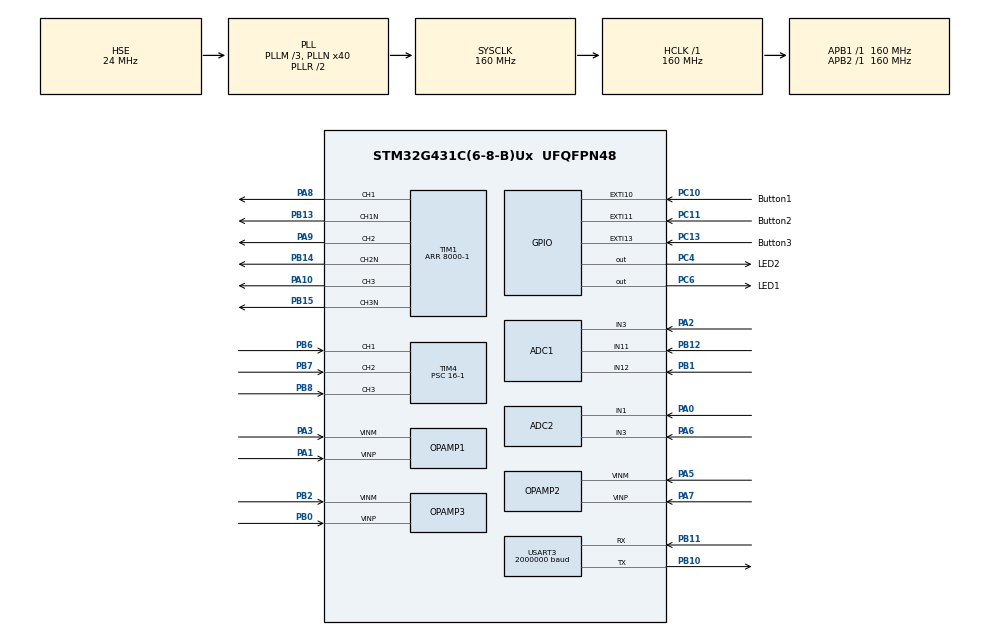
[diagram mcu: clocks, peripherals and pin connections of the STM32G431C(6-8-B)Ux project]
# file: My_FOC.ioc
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ADC1.Channel-0\#ChannelRegularConversion=ADC_CHANNEL_11
ADC1.ClockPrescaler=ADC_CLOCK_ASYNC_DIV4
ADC1.EnableInjectedConversion=ENABLE
ADC1.ExternalTrigInjecConv=ADC_EXTERNALTRIGINJEC_T1_CC4
ADC1.InjNumberOfConversion=2
ADC1.InjectedChannel-1\#ChannelInjectedConversion=ADC_CHANNEL_3
ADC1.InjectedChannel-2\#ChannelInjectedConversion=ADC_CHANNEL_12
ADC1.InjectedOffsetNumber-1\#ChannelInjectedConversion=ADC_OFFSET_NONE
ADC1.InjectedOffsetNumber-2\#ChannelInjectedConversion=ADC_OFFSET_NONE
ADC1.InjectedRank-1\#ChannelInjectedConversion=1
ADC1.InjectedRank-2\#ChannelInjectedConversion=2
ADC1.InjectedSamplingTime-1\#ChannelInjectedConversion=ADC_SAMPLETIME_6CYCLES_5
ADC1.InjectedSamplingTime-2\#ChannelInjectedConversion=ADC_SAMPLETIME_6CYCLES_5
ADC1.NbrOfConversion=1
ADC1.NbrOfConversionFlag=1
ADC1.OffsetNumber-0\#ChannelRegularConversion=ADC_OFFSET_NONE
ADC1.Rank-0\#ChannelRegularConversion=1
ADC1.SamplingTime-0\#ChannelRegularConversion=ADC_SAMPLETIME_2CYCLES_5
ADC1.master=1
ADC2.Channel-0\#ChannelRegularConversion=ADC_CHANNEL_1
ADC2.ClockPrescaler=ADC_CLOCK_ASYNC_DIV4
ADC2.EnableInjectedConversion=ENABLE
ADC2.ExternalTrigInjecConv=ADC_EXTERNALTRIGINJEC_T1_CC4
ADC2.InjNumberOfConversion=1
ADC2.InjectedChannel-1\#ChannelInjectedConversion=ADC_CHANNEL_3
ADC2.InjectedOffsetNumber-1\#ChannelInjectedConversion=ADC_OFFSET_NONE
ADC2.InjectedRank-1\#ChannelInjectedConversion=1
ADC2.InjectedSamplingTime-1\#ChannelInjectedConversion=ADC_SAMPLETIME_6CYCLES_5
ADC2.NbrOfConversionFlag=1
ADC2.OffsetNumber-0\#ChannelRegularConversion=ADC_OFFSET_NONE
ADC2.Rank-0\#ChannelRegularConversion=1
ADC2.SamplingTime-0\#ChannelRegularConversion=ADC_SAMPLETIME_2CYCLES_5
Dma.Request0=USART3_RX
Dma.Request1=USART3_TX
Dma.USART3_RX.0.Direction=DMA_PERIPH_TO_MEMORY
Dma.USART3_RX.0.EventEnable=DISABLE
Dma.USART3_RX.0.Instance=DMA1_Channel1
Dma.USART3_RX.0.MemDataAlignment=DMA_MDATAALIGN_BYTE
Dma.USART3_RX.0.MemInc=DMA_MINC_ENABLE
Dma.USART3_RX.0.Mode=DMA_NORMAL
Dma.USART3_RX.0.PeriphDataAlignment=DMA_PDATAALIGN_BYTE
Dma.USART3_RX.0.PeriphInc=DMA_PINC_DISABLE
Dma.USART3_RX.0.Polarity=HAL_DMAMUX_REQ_GEN_RISING
Dma.USART3_RX.0.Priority=DMA_PRIORITY_LOW
Dma.USART3_RX.0.RequestNumber=1
Dma.USART3_RX.0.SignalID=NONE
Dma.USART3_RX.0.SyncEnable=DISABLE
Dma.USART3_RX.0.SyncPolarity=HAL_DMAMUX_SYNC_NO_EVENT
Dma.USART3_RX.0.SyncRequestNumber=1
Dma.USART3_RX.0.SyncSignalID=NONE
Dma.USART3_TX.1.Direction=DMA_MEMORY_TO_PERIPH
Dma.USART3_TX.1.EventEnable=DISABLE
Dma.USART3_TX.1.Instance=DMA1_Channel2
Dma.USART3_TX.1.MemDataAlignment=DMA_MDATAALIGN_BYTE
Dma.USART3_TX.1.MemInc=DMA_MINC_ENABLE
Dma.USART3_TX.1.Mode=DMA_NORMAL
Dma.USART3_TX.1.PeriphDataAlignment=DMA_PDATAALIGN_BYTE
Dma.USART3_TX.1.PeriphInc=DMA_PINC_DISABLE
Dma.USART3_TX.1.Polarity=HAL_DMAMUX_REQ_GEN_RISING
Dma.USART3_TX.1.Priority=DMA_PRIORITY_LOW
Dma.USART3_TX.1.RequestNumber=1
Dma.USART3_TX.1.SignalID=NONE
Dma.USART3_TX.1.SyncEnable=DISABLE
Dma.USART3_TX.1.SyncPolarity=HAL_DMAMUX_SYNC_NO_EVENT
Dma.USART3_TX.1.SyncRequestNumber=1
Dma.USART3_TX.1.SyncSignalID=NONE
Mcu.Family=STM32G4
Mcu.Name=STM32G431C(6-8-B)Ux
Mcu.Package=UFQFPN48
NVIC.ADC1_2_IRQn=true\:0\:0\:false\:false\:true\:true\:true\:true
NVIC.DMA1_Channel1_IRQn=true\:0\:0\:false\:false\:true\:false\:true\:true
NVIC.DMA1_Channel2_IRQn=true\:0\:0\:false\:false\:true\:false\:true\:true
NVIC.EXTI15_10_IRQn=true\:4\:0\:true\:false\:true\:true\:true\:true
NVIC.PriorityGroup=NVIC_PRIORITYGROUP_4
NVIC.TIM1_BRK_TIM15_IRQn=true\:1\:0\:true\:false\:true\:true\:true\:true
NVIC.TIM2_IRQn=true\:3\:0\:true\:false\:true\:true\:true\:true
NVIC.TIM4_IRQn=true\:0\:0\:false\:false\:true\:true\:true\:true
NVIC.USART3_IRQn=true\:2\:0\:true\:false\:true\:false\:true\:true
PA0.Mode=IN1-Single-Ended
PA0.Signal=ADC2_IN1
PA1.Mode=Standalone
PA1.Signal=OPAMP1_VINP
PA10.Signal=S_TIM1_CH3
PA13.Mode=Serial_Wire
PA13.Signal=SYS_JTMS-SWDIO
PA14.Mode=Serial_Wire
PA14.Signal=SYS_JTCK-SWCLK
PA2.Signal=SharedAnalog_PA2
PA3.Mode=Standalone
PA3.Signal=OPAMP1_VINM
PA5.Mode=Standalone
PA5.Signal=OPAMP2_VINM
PA6.Signal=SharedAnalog_PA6
PA7.Mode=Standalone
PA7.Signal=OPAMP2_VINP
PA8.Signal=S_TIM1_CH1
PA9.Signal=S_TIM1_CH2
PB0.Mode=Standalone
PB0.Signal=OPAMP3_VINP
PB1.Signal=SharedAnalog_PB1
PB10.Mode=Asynchronous
PB10.Signal=USART3_TX
PB11.Mode=Asynchronous
PB11.Signal=USART3_RX
PB12.Mode=IN11-Single-Ended
PB12.Signal=ADC1_IN11
PB13.Mode=PWM Generation1 CH1 CH1N
PB13.Signal=TIM1_CH1N
PB14.Mode=PWM Generation2 CH2 CH2N
PB14.Signal=TIM1_CH2N
PB15.Mode=PWM Generation3 CH3 CH3N
PB15.Signal=TIM1_CH3N
PB2.Mode=Standalone
PB2.Signal=OPAMP3_VINM
PB6.Signal=S_TIM4_CH1
PB7.Signal=S_TIM4_CH2
PB8-BOOT0.Signal=S_TIM4_CH3
PC10.GPIO_Label=Button1
PC10.Signal=GPXTI10
PC11.GPIO_Label=Button2
PC11.Signal=GPXTI11
PC13.GPIO_Label=Button3
PC13.Signal=GPXTI13
PC4.GPIO_Label=LED2
PC4.Signal=GPIO_Output
PC6.GPIO_Label=LED1
PC6.Signal=GPIO_Output
PF0-OSC_IN.Mode=HSE-External-Oscillator
PF0-OSC_IN.Signal=RCC_OSC_IN
PF1-OSC_OUT.Mode=HSE-External-Oscillator
PF1-OSC_OUT.Signal=RCC_OSC_OUT
ProjectManager.HeapSize=0x200
ProjectManager.StackSize=0x400
ProjectManager.TargetToolchain=MDK-ARM V5.32
RCC.ADC12Freq_Value=160000000
RCC.AHBFreq_Value=160000000
RCC.APB1Freq_Value=160000000
RCC.APB1TimFreq_Value=160000000
RCC.APB2Freq_Value=160000000
RCC.APB2TimFreq_Value=160000000
RCC.CortexFreq_Value=160000000
RCC.EXTERNAL_CLOCK_VALUE=12288000
RCC.HCLKFreq_Value=160000000
RCC.HSE_VALUE=24000000
RCC.HSI48_VALUE=48000000
RCC.HSI_VALUE=16000000
RCC.LSE_VALUE=32768
RCC.PLLM=RCC_PLLM_DIV3
RCC.PLLN=40
RCC.PLLSourceVirtual=RCC_PLLSOURCE_HSE
RCC.SYSCLKFreq_VALUE=160000000
RCC.SYSCLKSource=RCC_SYSCLKSOURCE_PLLCLK
RCC.USBFreq_Value=160000000
RCC.VCOOutputFreq_Value=320000000
SH.S_TIM1_CH1.0=TIM1_CH1,PWM Generation1 CH1 CH1N
SH.S_TIM1_CH2.0=TIM1_CH2,PWM Generation2 CH2 CH2N
SH.S_TIM1_CH3.0=TIM1_CH3,PWM Generation3 CH3 CH3N
SH.S_TIM4_CH1.0=TIM4_CH1,Xored_Inputs_Hall_Sensor_Interface
SH.S_TIM4_CH2.0=TIM4_CH2,Xored_Inputs_Hall_Sensor_Interface
SH.S_TIM4_CH3.0=TIM4_CH3,Xored_Inputs_Hall_Sensor_Interface
SH.SharedAnalog_PA2.0=ADC1_IN3,IN3-Single-Ended
SH.SharedAnalog_PA2.1=OPAMP1_VOUT,Standalone
SH.SharedAnalog_PA6.0=ADC2_IN3,IN3-Single-Ended
SH.SharedAnalog_PA6.1=OPAMP2_VOUT,Standalone
SH.SharedAnalog_PB1.0=ADC1_IN12,IN12-Single-Ended
SH.SharedAnalog_PB1.1=OPAMP3_VOUT,Standalone
TIM1.Channel-PWM\ Generation1\ CH1\ CH1N=TIM_CHANNEL_1
TIM1.Channel-PWM\ Generation2\ CH2\ CH2N=TIM_CHANNEL_2
TIM1.Channel-PWM\ Generation3\ CH3\ CH3N=TIM_CHANNEL_3
TIM1.Channel-PWM\ Generation4\ No\ Output=TIM_CHANNEL_4
TIM1.ClockDivision=TIM_CLOCKDIVISION_DIV2
TIM1.CounterMode=TIM_COUNTERMODE_CENTERALIGNED1
TIM1.DeadTime=120
TIM1.OCMode_PWM-PWM\ Generation4\ No\ Output=TIM_OCMODE_PWM2
TIM1.PeriodNoDither=8000-1
TIM1.PulseNoDither_4=8000-2
TIM1.RepetitionCounter=1
TIM1.TIM_MasterOutputTrigger=TIM_TRGO_OC4REF
TIM2.PeriodNoDither=80000
TIM2.Prescaler=1-1
TIM4.Commutation_Delay=5
TIM4.IC1Filter=10
TIM4.Prescaler=16-1
USART3.BaudRate=2000000
USART3.VirtualMode-Asynchronous=VM_ASYNC
VP_SYS_VS_DBSignals.Mode=DisableDeadBatterySignals
VP_TIM1_VS_no_output4.Mode=PWM Generation4 No Output
VP_TIM2_VS_ClockSourceINT.Mode=Internal
board=custom

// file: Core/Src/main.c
/* USER CODE BEGIN Header */
/**
  ******************************************************************************
  * @file           : main.c
  * @brief          : Main program body
  ******************************************************************************
  * @attention
  *
  * Copyright (c) 2026 STMicroelectronics.
  * All rights reserved.
  *
  * This software is licensed under terms that can be found in the LICENSE file
  * in the root directory of this software component.
  * If no LICENSE file comes with this software, it is provided AS-IS.
  *
  ******************************************************************************
  */
/* USER CODE END Header */
#include "main.h"
#include "adc.h"
#include "dma.h"
#include "opamp.h"
#include "tim.h"
#include "usart.h"
#include "gpio.h"

/* USER CODE BEGIN Includes */
#include "FOC.h"
#include <stdlib.h>
#include <string.h>
/* USER CODE END Includes */

/* USER CODE BEGIN PV */

/*==============================================================================
 * 电流采样与标定相关宏定义
 *============================================================================*/

/**
 * @brief 电流 offset 标定的 ADC 样本数量
 * @note  值越大 offset 越准确，但上电等待时间越长。
 *        1024 样本在 10kHz 注入采样率下约耗时 102.4ms。
 *        计算方式：1024 / 10000Hz = 0.1024s
 */
#define CURRENT_ADC_SAMPLE_COUNT 1024U

/**
 * @brief ADC count 到实际电流 (A) 的转换系数
 * @note  推导公式：gain = (Vref / 4096) / (Gain_opamp * Rshunt)
 *        本例：3.3V / 4096 / (10 * 0.1Ω) ≈ 0.0219726 A/count
 *        需根据实际运放增益、分流电阻值和 ADC 参考电压重新计算。
 */
#define CURRENT_ADC_TO_AMP 0.0219726f

/*==============================================================================
 * PWM 与母线电压相关宏定义
 *============================================================================*/

/**
 * @brief PWM 中点比较值（50% 占空比）
 * @note  TIM1 ARR = 8000-1，中心对齐模式，10kHz PWM 频率。
 *        f_PWM = TIM1CK / (2 * (ARR+1)) = 160MHz / 16000 = 10kHz。
 *        FOC 算法输出的 Tcmp1/2/3 范围为 0..8000，
 *        中值 4000 对应三相输出各 50% 占空比，即电机端电压为零。
 *        上电初始化及停机时均将 PWM 设为中值，确保不会意外驱动电机。
 */
#define PWM_MID_COUNTS 4000U

/**
 * @brief 母线电压固定初值 (V)
 * @note  在 ADC 尚未完成首次母线电压采样前，作为 FOC 模型的临时输入。
 *        主循环开始后会通过 ADC2 regular 通道实时更新，替换此初值。
 *        根据实际供电电压调整（如使用 12V 电源则改为 12.0f）。
 */
#define VBUS_FIXED_VALUE 24.0f

/**
 * @brief 母线电压 ADC 分压比换算系数 (V/count)
 * @note  推导：VBUS_ADC_SCALE = (Rtop + Rbottom) / Rbottom * (Vref / 4096)
 *        本例：(100k + 10k) / 10k * (3.3 / 4096) ≈ 11.0
 *        即 ADC 每读到一个 count，对应实际母线电压约 11.0 / 4096 ≈ 0.0027V。
 *        更换分压电阻后必须重新计算此值。
 */
#define VBUS_ADC_SCALE 11.0f

/*==============================================================================
 * 转速范围宏定义
 *============================================================================*/

/** @brief 默认目标转速 (RPM)，上电及未收到上位机速度指令时使用 */
#define SPEED_DEFAULT_RPM 600.0f

/** @brief 当前无感启动/闭环切换策略允许的最低稳定转速 (RPM) */
#define SPEED_SENSORLESS_MIN_RPM 120.0f

/** @brief 运行中速度给定斜率限制 (RPM/s)，用于降低换向和阶跃调速冲击 */
#define SPEED_REF_RAMP_RATE_RPM_PER_S 5000.0f

/** @brief 主循环速度给定更新周期 (s)，当前主循环末尾 HAL_Delay(10) */
#define SPEED_REF_UPDATE_PERIOD_S 0.01f

/** @brief 允许的最高目标转速 (RPM)，防止超速损坏电机或驱动器 */
#define SPEED_MAX_RPM 1800.0f

/** @brief 允许的最低目标转速 (RPM)，负值用于反转 */
#define SPEED_MIN_RPM (-SPEED_MAX_RPM)

/** @brief 上位机 ASCII 命令缓冲区大小（含结尾 '\0'） */
#define HOST_CMD_BUFFER_SIZE 32U

/** @brief USART3 RX DMA 环形缓冲区大小，用于可靠接收上位机命令 */
#define HOST_RX_DMA_BUFFER_SIZE 128U

/*==============================================================================
 * 三相电流 ADC 原始值（中断与主循环共享，需 volatile）
 *============================================================================*/

/** @brief A 相电流 ADC 原始值（12-bit，0..4095），由 ADC1 injected rank1 采样 */
volatile uint16_t ia_adc = 0;

/** @brief B 相电流 ADC 原始值（12-bit，0..4095），由 ADC2 injected rank1 采样 */
volatile uint16_t ib_adc = 0;

/** @brief C 相电流 ADC 原始值（12-bit，0..4095），由 ADC1 injected rank2 采样 */
volatile uint16_t ic_adc = 0;

/**
 * @brief ADC 注入组转换完成计数
 * @note  每完成一轮三相电流采样自增 1，用于在调试器中确认 10kHz 采样是否持续运行。
 *        正常运行时该值应持续增长；若停止增长则说明注入组触发或中断响应异常。
 */
volatile uint32_t adc_inj_count = 0;

/*==============================================================================
 * 去零偏后的三相电流（有符号值）
 *============================================================================*/

/**
 * @brief 三相电流去除零偏后的 ADC count 值
 * @note  允许为负数（当实际电流为负半周时）。
 *        计算公式：raw = adc - offset
 *        后续乘以 CURRENT_ADC_TO_AMP 即为实际安培值。
 */
volatile int16_t ia_raw = 0;
volatile int16_t ib_raw = 0;
volatile int16_t ic_raw = 0;

/*==============================================================================
 * 零电流偏置（offset）相关变量
 *============================================================================*/

/**
 * @brief 三相电流的零偏 ADC 值
 * @note  上电后在 PWM 未输出功率的状态下采样若干次取平均得到。
 *        该值包含了 OPAMP 偏置电压、ADC 零点误差等静态分量，
 *        FOC 运行时用 ia_adc - ia_offset 消除这些静态误差。
 */
volatile uint16_t ia_offset = 0;
volatile uint16_t ib_offset = 0;
volatile uint16_t ic_offset = 0;

/**
 * @brief offset 标定阶段的累加和
 * @note  每进入一次 ADC 注入回调累加一次三相 ADC 值，
 *        累计 CURRENT_ADC_SAMPLE_COUNT 次后除以总数即为 offset 平均值。
 *        使用 uint32_t 防止 1024 次累加溢出（1024 * 4095 ≈ 4.2M < 2^32）。
 */
volatile uint32_t ia_offset_sum = 0;
volatile uint32_t ib_offset_sum = 0;
volatile uint32_t ic_offset_sum = 0;

/*==============================================================================
 * FOC 运行状态变量
 *============================================================================*/

/**
 * @brief 三相电流瞬时和 (A)
 * @note  根据基尔霍夫电流定律，三相星形连接时 ia+ib+ic 应始终为 0。
 *        若该值偏离 0 较大（如 >0.5A），应优先排查：
 *        1. 电流 offset 标定是否正确
 *        2. 三相电流采样相序是否与 FOC 模型一致
 *        3. 电流传感器/运放方向是否反向
 */
volatile float i_sum = 0.0f;

/** @brief 已累计的 offset 样本数，达到 CURRENT_ADC_SAMPLE_COUNT 后停止计数 */
volatile uint16_t current_offset_count = 0;

/**
 * @brief offset 标定完成标志
 * @note  0 = 标定进行中，不可启动功率 PWM；
 *        1 = 标定完成，offset 可用于电流采样修正，允许启动功率 PWM。
 */
volatile uint8_t current_offset_ready = 0;

/**
 * @brief 电机功率级状态
 * @note  0 = 三相功率 PWM (CH1/CH2/CH3) 未启动；
 *        1 = offset 完成且收到上位机 RUN=1 后已自动启动三相 PWM。
 *        该变量用于区分"仅 CH4 触发采样"和"三相全功率输出"两种状态。
 */
volatile uint8_t Motor_state = 0;

/*==============================================================================
 * ADC 常规通道采样变量（主循环低频读取）
 *============================================================================*/

/** @brief ADC2 regular 采得的母线电压原始值 (12-bit)，对应 PA0 / ADC2_IN1 */
uint16_t adc_vbus = 0;

/**
 * @brief ADC1_IN11 速度电位器原始值
 * @note  当前使用上位机固定 RefSpeed，此变量暂未使用，预留用于后续电位器调速功能。
 */
uint16_t adc1_in11 = 0;

/**
 * @brief 电位器换算后的目标转速 (RPM)
 * @note  当前使用上位机固定 RefSpeed，此变量暂未使用。
 */
uint16_t finalspeed = 0;

/*==============================================================================
 * VOFA JustFloat 调试数据帧缓冲区
 *============================================================================*/

/**
 * @brief VOFA JustFloat 数据区
 * @note  17 个 float = 68 字节，依次为基础遥测和 FOC 诊断量。
 *        VOFA+ 上位机选择 JustFloat 协议即可实时查看这些波形。
 */
float load_data[17];

/**
 * @brief VOFA JustFloat 完整帧缓冲区 (72 字节)
 * @note  布局：[68 字节 float 数据] + [0x00, 0x00, 0x80, 0x7F]
 *        末尾 4 字节是 JustFloat 协议的固定帧尾，VOFA+ 靠它识别帧边界。
 *        使用 DMA 发送以避免阻塞 ADC 中断服务例程。
 */
uint8_t tempData[72];

/*==============================================================================
 * USART3 上位机 ASCII 命令接收缓冲区
 *============================================================================*/

/** @brief USART3 RX DMA 环形缓冲区，避免 2Mbps 单字节中断接收丢命令 */
uint8_t host_rx_dma_buffer[HOST_RX_DMA_BUFFER_SIZE];

/** @brief 正在接收中的命令行缓冲区（未遇到换行符前持续填充） */
char host_rx_buffer[HOST_CMD_BUFFER_SIZE];

/** @brief 兼容旧接收路径的完整命令行，正常 DMA 路径不会写入 */
char host_cmd_line[HOST_CMD_BUFFER_SIZE];

/** @brief host_rx_buffer 的当前写入位置（即已接收字符数） */
uint8_t host_rx_index = 0U;

/** @brief 主循环上次已处理到的 RX DMA 环形缓冲位置 */
volatile uint16_t host_rx_dma_last_pos = 0U;

/**
 * @brief 命令就绪标志
 * @note  兼容旧 UART RX 中断路径。当前 DMA 环形接收路径在主循环中直接解析，
 *        正常不会使用该标志。
 */
volatile uint8_t host_cmd_ready = 0U;

/**
 * @brief 上位机运行使能标志
 * @note  上位机发送 RUN=1 后置 1，主循环检测到此标志且 offset 完成后启动电机。
 *        RUN=0 时置 0，同时发出停机请求。
 *        上电默认为 0（安全：未收到运行命令前绝不启动电机）。
 */
volatile uint8_t host_run_enable = 0U;

/**
 * @brief 上位机停机请求标志
 * @note  收到 RUN=0 或 STOP 命令后置 1，主循环检测后执行停机操作并清零。
 */
volatile uint8_t host_stop_request = 0U;

/**
 * @brief 上位机给定的目标转速 (RPM)
 * @note  通过 SPD=xxx 或 REF=xxx 命令设置，默认值 SPEED_DEFAULT_RPM (600)。
 *        该值被限制在 [SPEED_MIN_RPM, SPEED_MAX_RPM] 范围内。
 */
volatile float host_ref_speed = SPEED_DEFAULT_RPM;

/** @brief 实际送入 FOC 模型的速度参考，按斜率追踪 host_ref_speed */
volatile float host_foc_speed_ref = SPEED_DEFAULT_RPM;
/* USER CODE END PV */

void SystemClock_Config(void);
/* USER CODE BEGIN PFP */

/**
 * @brief  将浮点值限制在 [lower, upper] 闭区间内
 * @param  value 输入值
 * @param  lower 下限
 * @param  upper 上限
 * @retval 钳位后的值（lower <= 返回值 <= upper）
 * @note   用于限制上位机下发的转速指令，防止超范围运行。
 */
static float ClampFloat(float value, float lower, float upper);

static float ClampSpeedCommand(float speed);

static float HostCommand_UpdateSpeedReference(float current_ref, float target_ref);

/**
 * @brief  启动 USART3 RX DMA 环形接收
 * @note   DMA 负责收字节，主循环通过 HostCommand_PollDmaRx() 解析。
 */
static void HostCommand_RestartDmaRx(void);

/**
 * @brief  轮询 USART3 RX DMA 新收到的字节
 * @note   在主循环中调用，避免高频 FOC 中断抢占导致命令字节丢失。
 */
static void HostCommand_PollDmaRx(void);

/**
 * @brief  处理一个上位机命令字节
 * @param  rx_byte USART3 RX DMA 收到的单字节数据
 */
static void HostCommand_ProcessRxByte(uint8_t rx_byte);

/**
 * @brief  处理上位机命令（主循环调用）
 * @note   检查 host_cmd_ready 标志，若为 1 则将命令行拷贝出来、
 *         清标志、再调用 HostCommand_Parse() 解析。
 *         拷贝前关全局中断是为了防止拷贝过程中 UART 中断
 *         又收到新数据修改 host_cmd_line。
 */
static void HostCommand_ProcessPending(void);

/**
 * @brief  解析上位机 ASCII 命令
 * @param  cmd 以 '\0' 结尾的命令字符串（已在调用前做了备份）
 * @note   支持的命令格式：
 *         - RUN=1 或 START  → 使能电机运行
 *         - RUN=0 或 STOP   → 禁止运行并停机
 *         - SPD=xxx 或 REF=xxx → 设置目标转速（自动钳位）
 *         解析前会先将小写字母转为大写，实现大小写不敏感匹配。
 */
static void HostCommand_Parse(char *cmd);

/**
 * @brief  停止电机运行
 * @note   将 MotorOnOff 清零通知 FOC 模型，停止三相功率 PWM 及互补输出，
 *         并将 PWM 比较值恢复为中值（50% 占空比），确保电机端电压为零。
 */
static void HostCommand_StopMotor(void);

/**
 * @brief  判断字符串 text 是否以 prefix 开头
 * @param  text   待检查的字符串
 * @param  prefix 前缀字符串
 * @retval 1 表示 text 以 prefix 开头；0 表示不是
 * @note   用于解析 SPD=xxx / REF=xxx 这类"关键字=数值"格式的命令。
 */
static uint8_t HostCommand_StartsWith(const char *text, const char *prefix);

/* USER CODE END PFP */

/* USER CODE BEGIN 0 */

/**
 * @brief  FOC 系统启动流程说明
 * @note
 * 本系统采用分阶段启动策略，确保电流采样零偏标定完成后才输出功率，
 * 避免因 offset 未标定导致 FOC 控制发散损坏硬件。
 *
 * 阶段 1 — 仅采样、无功率输出（上电自动开始）：
 *   - HAL_Init / SystemClock_Config / 各外设初始化完成后，
 *     只启动 TIM1_CH4，其作用是在每个 PWM 周期内产生 ADC injected 触发信号，
 *     但 CH4 不连接功率 MOS，因此电机端电压为零。
 *   - ADC1/ADC2 注入组开始以 10kHz 采样三相电流。
 *
 * 阶段 2 — 零电流 offset 标定（在 ADC injected 中断回调中进行）：
 *   - 每次 ADC 注入组转换完成，累加 ia/ib/ic 的 ADC 原始值。
 *   - 累计 CURRENT_ADC_SAMPLE_COUNT (1024) 次后取平均，得到三相的零电流偏置。
 *   - 置 current_offset_ready = 1，通知主循环 offset 已就绪。
 *
 * 阶段 3 — 启动功率输出（主循环检测条件满足后执行）：
 *   - 条件：current_offset_ready == 1 && Motor_state == 0 && host_run_enable == 1
 *   - 置 MotorOnOff = 1，通知 FOC 模型进入启动状态机。
 *   - 启动 TIM1 CH1/CH2/CH3 及互补输出通道，电机开始受控运行。
 *
 * 阶段 4 — 正常运行循环（每次 ADC injected 中断中执行）：
 *   - 用 offset 修正电流值 → 转换为安培 → 写入 FOC 模型输入。
 *   - 调用 FOC_step() 执行一次 FOC 运算。
 *   - 将 FOC 输出的 Tcmp1/2/3 写入 TIM1 CCR 寄存器更新 PWM。
 *   - 通过 USART3 DMA 发送一帧 VOFA JustFloat 调试数据。
 *
 * 阶段 5 — 上位机命令处理（USART3 RX DMA 环形缓冲 + 主循环解析）：
 *   - DMA 持续接收 PC 发来的 ASCII 命令字节。
 *   - 主循环轮询 DMA 写入位置，遇换行符后直接解析完整命令。
 *   - 支持 RUN=1/START（启动）、RUN=0/STOP（停机）、SPD=xxx/REF=xxx（调速）。
 */

/* USER CODE END 0 */

/**
  * @brief  应用程序入口
  * @note   执行顺序：
  *         1. HAL 库初始化
  *         2. 系统时钟配置 (HSE 24MHz → PLL → 160MHz SYSCLK)
  *         3. FOC 模型输入赋初值
  *         4. 各外设初始化 (GPIO/DMA/ADC/OPAMP/TIM/USART)
  *         5. FOC 模型初始化
  *         6. 启动电流采样 (TIM1_CH4 + ADC injected)
  *         7. 进入主循环，等待 offset 标定和上位机命令
  * @retval int  本函数永不返回（无限循环）
  */
int main(void)
{

  /* MCU Configuration--------------------------------------------------------*/

  /* Reset of all peripherals, Initializes the Flash interface and the Systick. */
  HAL_Init();

  /* Configure the system clock */
  SystemClock_Config();

  /* USER CODE BEGIN SysInit */

  /*
   * FOC 模型 (Simulink 生成代码) 输入初始化：
   * - v_bus: 先填充固定初值，防止模型在母线电压为 0 时出现除零或异常。
   *          主循环中每 10ms 通过 ADC2 regular 通道更新一次。
   * - RefSpeed: 默认 600 RPM，后续可由上位机 SPD=xxx 命令修改。
   */
  rtU.v_bus = VBUS_FIXED_VALUE;
  rtU.SpeedRefToFOC = SPEED_DEFAULT_RPM;

  /*
   * 安全策略：上电默认不启动。
   * - MotorOnOff = 0: FOC 模型内部状态机保持 IDLE，不输出 PWM。
   * - 只有同时满足 (offset_ready && Motor_state==0 && host_run_enable==1)
   *   三个条件后，主循环才会将 MotorOnOff 置 1 并启动功率 PWM。
   */
  rtU.MotorOnOff = 0U;

  /*
   * OpenLoopHold: 开环锁定时间 (秒)，由 Simulink 模型定义。
   * 设为 0 表示不使用开环拖动的延时保持功能，直接进入启动流程。
   */
  rtU.OpenLoopHold = 0.0f;
  /* USER CODE END SysInit */

  /* Initialize all configured peripherals */
  MX_GPIO_Init();
  MX_DMA_Init();
  MX_ADC1_Init();
  MX_ADC2_Init();
  MX_OPAMP1_Init();
  MX_OPAMP2_Init();
  MX_OPAMP3_Init();
  MX_TIM1_Init();
  MX_TIM2_Init();
  MX_TIM4_Init();
  MX_USART3_UART_Init();
  /* USER CODE BEGIN 2 */

  /*
   * FOC 模型初始化：调用 Simulink 自动生成的 FOC_initialize()，
   * 初始化模型内部的所有状态变量、积分器、延迟单元等。
   * 必须在 TIM/ADC 等外设启动之前调用。
   */
  FOC_initialize();

  /*
   * 启动三个 OPAMP (运放)：
   * OPAMP1→A 相电流放大、OPAMP2→B 相电流放大、OPAMP3→C 相电流放大。
   * 运放配置为 PGA 模式，增益由 STM32CubeMX 在 OPAMP 初始化中配置。
   */
  HAL_OPAMP_Start(&hopamp1);
  HAL_OPAMP_Start(&hopamp2);
  HAL_OPAMP_Start(&hopamp3);

  /*
   * ADC 自校准：补偿 ADC 内部电容阵列的制造偏差。
   * 必须在 ADC 开始转换之前执行，校准期间 ADC 不能进行任何转换。
   */
  HAL_ADCEx_Calibration_Start(&hadc1, ADC_SINGLE_ENDED);
  HAL_ADCEx_Calibration_Start(&hadc2, ADC_SINGLE_ENDED);

  /*
   * 初始化 TIM1 三相比较值为中点 (50% 占空比)。
   * 此时 CH1/2/3 尚未启动 PWM 输出，这里只是预填比较寄存器，
   * 确保后续启动 CH1/2/3 时不会瞬间输出一个不确定的占空比。
   */
  TIM1->CCR1 = PWM_MID_COUNTS;
  TIM1->CCR2 = PWM_MID_COUNTS;
  TIM1->CCR3 = PWM_MID_COUNTS;

  /*
   * 启动 TIM1_CH4 PWM 输出（仅 CH4，不启动 CH1/2/3）：
   * CH4 配置为 PWM2 模式，在每个 PWM 周期的特定时刻产生
   * ADC injected 触发脉冲，驱动三相电流同步采样。
   * CH4 不连接功率 MOS 管，因此不会在电机绕组上产生电压。
   */
  HAL_TIM_PWM_Start(&htim1, TIM_CHANNEL_4);
  Motor_state = 0U;  /* 标记当前仅采样、无功率输出状态 */

  /*
   * 清除 ADC JEOC (注入组转换完成) 和 EOC (常规组转换完成) 标志，
   * 防止残留标志位在上电瞬间触发意外的中断或干扰第一次采样的判断。
   * 然后启动 ADC1 注入组中断采样 (ADC2 注入组仅启动、不使用单独中断)。
   * 注意：ADC1 和 ADC2 注入组由 TIM1_CH4 的同一个触发信号同步启动，
   * 但只使能 ADC1 的注入中断——在 ADC1 的回调里统一读取两个 ADC 的数据。
   */
  __HAL_ADC_CLEAR_FLAG(&hadc1, ADC_FLAG_JEOC | ADC_FLAG_EOC);
  __HAL_ADC_CLEAR_FLAG(&hadc2, ADC_FLAG_JEOC | ADC_FLAG_EOC);
  HAL_ADCEx_InjectedStart_IT(&hadc1);
  HAL_ADCEx_InjectedStart(&hadc2);

  /*
   * 启动 USART3 RX DMA 环形接收：
   * 上位机命令很短，但 2Mbps 下单字节仅约 5us。FOC ADC 中断和 TX DMA
   * 会抢占 USART 中断，单字节 IT 接收容易 ORE/漏字节；DMA 环形缓冲先
   * 硬件收下字节，主循环再解析，可以根治“命令有时没反应”。
   */
  HostCommand_RestartDmaRx();
  /* USER CODE END 2 */

  /* Infinite loop */
  while (1)
  {

    /* USER CODE BEGIN 3 */

    /*
     * 第 1 步：处理上位机命令
     * 先轮询 RX DMA 环形缓冲中的新字节并直接解析完整命令行。
     * 兼容保留 HostCommand_ProcessPending()，用于处理旧中断路径留下的
     * host_cmd_ready 命令；正常情况下 DMA 路径不会使用该标志。
     */
    HostCommand_PollDmaRx();
    HostCommand_ProcessPending();

    /*
     * 第 2 步：将上位机速度给定同步到 FOC 模型输入
     * host_ref_speed 可能被 HostCommand_Parse() 修改，每次循环都刷新。
     */
    if (Motor_state == 0U)
    {
      host_foc_speed_ref = host_ref_speed;
    }
    else
    {
      host_foc_speed_ref = HostCommand_UpdateSpeedReference(host_foc_speed_ref, host_ref_speed);
    }
    rtU.SpeedRefToFOC = host_foc_speed_ref;

    /*
     * 第 3 步：低频读取母线电压（ADC2 regular 通道）
     * 每 10ms 主循环执行一次，通过 ADC2 regular 转换 PA0 上的分压值。
     * 换算公式：Vbus = adc_count * (3.3V / 4096) * VBUS_ADC_SCALE
     *          = adc_count * 0.00080566 * 11.0
     * 其中 VBUS_ADC_SCALE = (100k + 10k) / 10k = 11.0（电阻分压比）。
     * PollForConversion 超时 10ms，若超时则使用旧值继续运行。
     */
    HAL_ADC_Start(&hadc2);
    HAL_ADC_PollForConversion(&hadc2, 10);
    adc_vbus = HAL_ADC_GetValue(&hadc2);
    rtU.v_bus = (float)adc_vbus * 3.3f / 4096.0f * VBUS_ADC_SCALE;

    /*
     * 第 4 步：处理上位机停机请求
     * host_stop_request 由 HostCommand_Parse() 在收到 RUN=0/STOP 时置 1。
     * 停机操作包括：MotorOnOff 清零、三相 PWM 停止、比较值回中点。
     */
    if (host_stop_request != 0U)
    {
      HostCommand_StopMotor();
      host_stop_request = 0U;
    }

    /*
     * 第 5 步：条件满足时自动启动功率 PWM
     * 三个条件缺一不可：
     *   current_offset_ready == 1  → 电流零偏已标定完成
     *   Motor_state == 0           → 尚未启动（防止重复启动）
     *   host_run_enable == 1       → 上位机已发 RUN=1
     *
     * 启动顺序：
     *   1. 先置 MotorOnOff = 1，通知 FOC 模型进入启动状态机
     *   2. 再启动 CH1/CH2/CH3 的 PWM 输出和互补输出
     *
     * 注意：CH4 在上电初始化时已经启动，此处不需要额外操作。
     */
    if ((current_offset_ready == 1U) && (Motor_state == 0U) && (host_run_enable == 1U))
    {
      rtU.MotorOnOff = 1U;   /* FOC 模型内部状态机开始走启动流程 */
      Motor_state = 1U;      /* 标记已启动，避免重复执行本段代码 */

      /* 启动三相高端 PWM 输出 (CH1/CH2/CH3) */
      HAL_TIM_PWM_Start(&htim1, TIM_CHANNEL_1);
      HAL_TIM_PWM_Start(&htim1, TIM_CHANNEL_2);
      HAL_TIM_PWM_Start(&htim1, TIM_CHANNEL_3);

      /* 启动三相低端互补 PWM 输出 (CH1N/CH2N/CH3N) */
      HAL_TIMEx_PWMN_Start(&htim1, TIM_CHANNEL_1);
      HAL_TIMEx_PWMN_Start(&htim1, TIM_CHANNEL_2);
      HAL_TIMEx_PWMN_Start(&htim1, TIM_CHANNEL_3);
    }

    /*
     * 第 6 步：主循环延时 10ms
     * 主循环主要负责低频任务（母线电压读取、命令处理），高频 FOC 控制在
     * ADC 注入中断回调中以 10kHz 实时执行，不依赖主循环节拍。
     */
    HAL_Delay(10);
  }
  /* USER CODE END 3 */
}

/**
  * @brief  系统时钟配置
  * @note
  * 时钟树 (STM32G4xx, HSE = 24MHz 外部晶振):
  *   HSE (24MHz) → PLLM (/3) → PLL VCO 输入 = 8MHz
  *                → PLLN (×40) → VCO = 320MHz (处于 96~344MHz 合法范围)
  *                → PLLR (/2) → PLLRCLK = 160MHz (作为 SYSCLK)
  *
  * 总线时钟分配:
  *   SYSCLK = PLLRCLK = 160 MHz
  *   HCLK   = SYSCLK / 1 = 160 MHz (AHB 总线)
  *   PCLK1  = HCLK / 1   = 160 MHz (APB1, TIM2/TIM4 等)
  *   PCLK2  = HCLK / 1   = 160 MHz (APB2, TIM1/USART3/ADC 等)
  *   TIM1 定时器时钟 = PCLK2 = 160 MHz
  *     (APB2 预分频 = 1 时，定时器时钟等于 PCLK2)
  *
  * PWM 频率: f_PWM = 160MHz / (2 * 8000) = 10 kHz (周期 100 µs)
  *
  * 电压调节器: SCALE1_BOOST (最高性能，满足 160MHz 运行)
  * Flash 延迟: 4 等待周期 (匹配 160MHz HCLK)
  *
  * @retval None
  */
void SystemClock_Config(void)
{
  RCC_OscInitTypeDef RCC_OscInitStruct = {0};
  RCC_ClkInitTypeDef RCC_ClkInitStruct = {0};

  /*
   * 配置内核电压调节器为 BOOST 模式（最高性能档）。
   * 电机 FOC 需要高计算性能，选择此档以获得最高 CPU 频率。
   */
  HAL_PWREx_ControlVoltageScaling(PWR_REGULATOR_VOLTAGE_SCALE1_BOOST);

  /*
   * 配置 HSE 及 PLL:
   * - 使能外部 24MHz 晶振 (HSE_VALUE = 24000000)
   * - PLL 源 = HSE, PLLM = /3, PLLN = ×40, PLLR = /2
   * - PLL "R" 输出 = 24MHz / 3 × 40 / 2 = 160 MHz → 作为 SYSCLK
   */
  RCC_OscInitStruct.OscillatorType = RCC_OSCILLATORTYPE_HSE;
  RCC_OscInitStruct.HSEState = RCC_HSE_ON;
  RCC_OscInitStruct.PLL.PLLState = RCC_PLL_ON;
  RCC_OscInitStruct.PLL.PLLSource = RCC_PLLSOURCE_HSE;
  RCC_OscInitStruct.PLL.PLLM = RCC_PLLM_DIV3;
  RCC_OscInitStruct.PLL.PLLN = 40;
  RCC_OscInitStruct.PLL.PLLP = RCC_PLLP_DIV2;
  RCC_OscInitStruct.PLL.PLLQ = RCC_PLLQ_DIV2;
  RCC_OscInitStruct.PLL.PLLR = RCC_PLLR_DIV2;
  if (HAL_RCC_OscConfig(&RCC_OscInitStruct) != HAL_OK)
  {
    Error_Handler();
  }

  /*
   * 配置系统时钟源及总线预分频:
   * - SYSCLK = PLLCLK (PLL "R" 输出)
   * - AHB/APB1/APB2 均不分频 (÷1)，所有总线与 SYSCLK 同频
   */
  RCC_ClkInitStruct.ClockType = RCC_CLOCKTYPE_HCLK|RCC_CLOCKTYPE_SYSCLK
                              |RCC_CLOCKTYPE_PCLK1|RCC_CLOCKTYPE_PCLK2;
  RCC_ClkInitStruct.SYSCLKSource = RCC_SYSCLKSOURCE_PLLCLK;
  RCC_ClkInitStruct.AHBCLKDivider = RCC_SYSCLK_DIV1;
  RCC_ClkInitStruct.APB1CLKDivider = RCC_HCLK_DIV1;
  RCC_ClkInitStruct.APB2CLKDivider = RCC_HCLK_DIV1;

  if (HAL_RCC_ClockConfig(&RCC_ClkInitStruct, FLASH_LATENCY_4) != HAL_OK)
  {
    Error_Handler();
  }
}

/* USER CODE BEGIN 4 */

/**
 * @brief  将浮点值钳位在 [lower, upper] 区间内
 * @param  value 输入值
 * @param  lower 下限
 * @param  upper 上限
 * @retval 钳位后的值
 * @note   纯函数，无副作用，用于限制上位机转速指令在安全范围内。
 */
static float ClampFloat(float value, float lower, float upper)
{
  if (value < lower)
  {
    return lower;
  }
  if (value > upper)
  {
    return upper;
  }
  return value;
}

static float ClampSpeedCommand(float speed)
{
  speed = ClampFloat(speed, SPEED_MIN_RPM, SPEED_MAX_RPM);
  if ((speed > 0.0f) && (speed < SPEED_SENSORLESS_MIN_RPM))
  {
    return SPEED_SENSORLESS_MIN_RPM;
  }
  if ((speed < 0.0f) && (speed > -SPEED_SENSORLESS_MIN_RPM))
  {
    return -SPEED_SENSORLESS_MIN_RPM;
  }
  return speed;
}

static float HostCommand_UpdateSpeedReference(float current_ref, float target_ref)
{
  float delta;
  float max_step;
  float next_ref;

  if (target_ref == current_ref)
  {
    return target_ref;
  }

  delta = target_ref - current_ref;
  max_step = SPEED_REF_RAMP_RATE_RPM_PER_S * SPEED_REF_UPDATE_PERIOD_S;
  next_ref = current_ref + ClampFloat(delta, -max_step, max_step);

  if ((current_ref >= SPEED_SENSORLESS_MIN_RPM) && (target_ref <= -SPEED_SENSORLESS_MIN_RPM)
      && (next_ref < SPEED_SENSORLESS_MIN_RPM))
  {
    return -SPEED_SENSORLESS_MIN_RPM;
  }

  if ((current_ref <= -SPEED_SENSORLESS_MIN_RPM) && (target_ref >= SPEED_SENSORLESS_MIN_RPM)
      && (next_ref > -SPEED_SENSORLESS_MIN_RPM))
  {
    return SPEED_SENSORLESS_MIN_RPM;
  }

  if ((target_ref == 0.0f) && (current_ref > 0.0f) && (next_ref < 0.0f))
  {
    return 0.0f;
  }

  if ((target_ref == 0.0f) && (current_ref < 0.0f) && (next_ref > 0.0f))
  {
    return 0.0f;
  }

  if (((target_ref - next_ref) > 0.0f) != (delta > 0.0f))
  {
    return target_ref;
  }

  return next_ref;
}

/**
 * @brief  判断字符串 text 是否以 prefix 开头
 * @param  text   待检查的字符串（以 '\0' 结尾）
 * @param  prefix 前缀字符串（以 '\0' 结尾）
 * @retval 1 表示 text 以 prefix 开头；0 表示不是
 * @note   逐字符比较，直到 prefix 的 '\0' 为止。
 *         若 text 比 prefix 短，会在访问 text 字符时读到 '\0' ≠ prefix 字符，正确返回 0。
 */
static uint8_t HostCommand_StartsWith(const char *text, const char *prefix)
{
  while (*prefix != '\0')
  {
    if (*text != *prefix)
    {
      return 0U;
    }
    text++;
    prefix++;
  }
  return 1U;
}

/**
 * @brief  启动 USART3 RX DMA 环形接收
 * @note   禁用 RX DMA 半传输/传输完成中断，只在主循环轮询 DMA 写入位置。
 */
static void HostCommand_RestartDmaRx(void)
{
  host_rx_dma_last_pos = 0U;
  host_rx_index = 0U;

  if (HAL_UART_Receive_DMA(&huart3, host_rx_dma_buffer, HOST_RX_DMA_BUFFER_SIZE) != HAL_OK)
  {
    Error_Handler();
  }

  if (huart3.hdmarx != NULL)
  {
    __HAL_DMA_DISABLE_IT(huart3.hdmarx, DMA_IT_HT | DMA_IT_TC);
  }
}

/**
 * @brief  轮询 USART3 RX DMA 环形缓冲中的新增字节
 */
static void HostCommand_PollDmaRx(void)
{
  uint16_t dma_pos;

  if (huart3.hdmarx == NULL)
  {
    return;
  }

  dma_pos = (uint16_t)(HOST_RX_DMA_BUFFER_SIZE - __HAL_DMA_GET_COUNTER(huart3.hdmarx));
  if (dma_pos >= HOST_RX_DMA_BUFFER_SIZE)
  {
    dma_pos = 0U;
  }

  while (host_rx_dma_last_pos != dma_pos)
  {
    HostCommand_ProcessRxByte(host_rx_dma_buffer[host_rx_dma_last_pos]);
    host_rx_dma_last_pos++;
    if (host_rx_dma_last_pos >= HOST_RX_DMA_BUFFER_SIZE)
    {
      host_rx_dma_last_pos = 0U;
    }
  }
}

/**
 * @brief  处理 USART3 RX DMA 收到的单字节命令数据
 */
static void HostCommand_ProcessRxByte(uint8_t rx_byte)
{
  if ((rx_byte == '\n') || (rx_byte == '\r'))
  {
    if (host_rx_index > 0U)
    {
      host_rx_buffer[host_rx_index] = '\0';
      HostCommand_Parse(host_rx_buffer);
    }
    host_rx_index = 0U;
  }
  else if ((rx_byte >= 32U) && (rx_byte <= 126U))
  {
    if (host_rx_index < (HOST_CMD_BUFFER_SIZE - 1U))
    {
      host_rx_buffer[host_rx_index] = (char)rx_byte;
      host_rx_index++;
    }
    else
    {
      host_rx_index = 0U;
    }
  }
}

/**
 * @brief  处理上位机命令（主循环每 10ms 调用一次）
 * @note
 * 执行流程：
 * 1. 检查 host_cmd_ready 标志，若为 0 则直接返回（无命令待处理）。
 * 2. 若为 1，先关全局中断，将 host_cmd_line 拷贝到栈上的局部缓冲区 cmd。
 *    ——关中断是为了防止 UART 中断在拷贝期间同时写入 host_cmd_line，
 *      造成数据竞争（data race）。拷贝量仅 32 字节，中断关闭时间极短。
 * 3. 清 host_cmd_ready 标志，开中断。
 * 4. 调用 HostCommand_Parse() 解析 cmd 内容。
 *
 * 为什么需要拷贝一份？因为 HostCommand_Parse() 会原地修改字符串
 * （小写转大写），而 host_cmd_line 可能被下一帧命令覆盖。
 */
static void HostCommand_ProcessPending(void)
{
  char cmd[HOST_CMD_BUFFER_SIZE];

  if (host_cmd_ready == 0U)
  {
    return;  /* 无待处理命令，快速返回 */
  }

  /*
   * 临界区：关中断 → 拷贝 → 清标志 → 开中断。
   * 不直接操作 host_cmd_line 而是拷贝到栈上，
   * 这样 Parse 函数可以随意修改 cmd 而不影响接收缓冲。
   */
  __disable_irq();
  memcpy(cmd, host_cmd_line, HOST_CMD_BUFFER_SIZE);
  host_cmd_ready = 0U;
  __enable_irq();

  HostCommand_Parse(cmd);
}

/**
 * @brief  解析上位机 ASCII 命令
 * @param  cmd 以 '\0' 结尾的命令字符串（已在调用前从 host_cmd_line 拷贝出来）
 * @note
 * 支持的命令（大小写不敏感，解析前统一转大写）：
 *   RUN=1 或 START   → 使能电机运行 (host_run_enable = 1)
 *   RUN=0 或 STOP    → 禁止运行并请求停机
 *   SPD=xxx 或 REF=xxx → 设置目标转速，自动钳位到 [SPEED_MIN, SPEED_MAX]
 *
 * 大小写转换方式：小写字母 a-z (ASCII 97-122) 减去 32 得到大写 (65-90)。
 * 'a' - 'A' = 32，因此 cmd[i] -= 32 即可完成单个字符转换。
 *
 * 数值解析：使用标准库 strtof()，若 end_text != value_text 说明成功解析
 * 了至少一个数字；若相等则说明字符串不是有效数字，忽略本次命令。
 */
static void HostCommand_Parse(char *cmd)
{
  char *value_text;  /* 指向 "SPD=600" 中 '6' 的位置 */
  char *end_text;    /* strtof 解析结束后指向第一个非数字字符 */
  float speed;

  /*
   * 将命令字符串中的所有小写字母转为大写，实现大小写不敏感匹配。
   * 例如用户输入 "run=1" → 转为 "RUN=1"，后续 strcmp 直接比较即可。
   */
  for (uint8_t i = 0U; cmd[i] != '\0'; i++)
  {
    if ((cmd[i] >= 'a') && (cmd[i] <= 'z'))
    {
      cmd[i] = (char)(cmd[i] - ('a' - 'A'));  /* 小写 ASCII - 32 = 大写 ASCII */
    }
  }

  /* 匹配 "RUN=1" 或 "START" → 使能电机运行 */
  if ((strcmp(cmd, "RUN=1") == 0) || (strcmp(cmd, "START") == 0))
  {
    host_run_enable = 1U;
    return;
  }

  /* 匹配 "RUN=0" 或 "STOP" → 禁止运行 + 请求停机 */
  if ((strcmp(cmd, "RUN=0") == 0) || (strcmp(cmd, "STOP") == 0))
  {
    host_run_enable = 0U;
    host_stop_request = 1U;  /* 主循环检测到此标志后执行 HostCommand_StopMotor() */
    return;
  }

  /*
   * 匹配速度设置命令：SPD=xxx 或 REF=xxx
   * HostCommand_StartsWith 检查字符串前缀，&cmd[4] 跳过 "SPD=" 四个字符，
   * 指向数值部分的第一个字符。
   */
  if (HostCommand_StartsWith(cmd, "SPD=") != 0U)
  {
    value_text = &cmd[4];
  }
  else if (HostCommand_StartsWith(cmd, "REF=") != 0U)
  {
    value_text = &cmd[4];
  }
  else
  {
    return;  /* 无法识别的命令，静默忽略 */
  }

  /*
   * strtof 解析浮点数字符串：
   * - 若 value_text 以有效数字开头，end_text 将指向第一个非数字字符
   * - 若 end_text == value_text，说明一个数字都没解析到（如 "SPD=abc"），忽略
   * - 解析成功则用 ClampFloat 将值限制在安全范围内
   */
  speed = strtof(value_text, &end_text);
  if (end_text != value_text)
  {
    host_ref_speed = ClampSpeedCommand(speed);
  }
}

/**
 * @brief  停止电机运行
 * @note
 * 执行以下操作（顺序重要）：
 * 1. 将 MotorOnOff 清零 → 通知 FOC 模型停止输出，进入 IDLE 状态。
 * 2. 将 Motor_state 清零 → 允许后续再次自动启动。
 * 3. 将三相比较值恢复为中点 (50% 占空比) → 确保即使在 PWM 停止前
 *    仍有输出时，电机端电压也为零。
 * 4. 依次停止三相 PWM 和互补 PWM 输出 → 功率 MOS 全部关断。
 *
 * 注意：CH4 不会被停止，因为它是 ADC 触发源，需持续运行以维持电流采样。
 */
static void HostCommand_StopMotor(void)
{
  rtU.MotorOnOff = 0U;   /* FOC 模型收到 0 后进入 IDLE/停机流程 */
  Motor_state = 0U;      /* 清除启动标记，允许再次启动 */

  /*
   * 先将三相比较值设为中点 (50%)，确保在 PWM 停止前的最后一个周期
   * 也不会输出非零电压。这是防御性编程：即使后续 Stop 调用失败，
   * 比较值也已经安全。
   */
  TIM1->CCR1 = PWM_MID_COUNTS;
  TIM1->CCR2 = PWM_MID_COUNTS;
  TIM1->CCR3 = PWM_MID_COUNTS;

  /* 停止三相高端 PWM 输出 */
  HAL_TIM_PWM_Stop(&htim1, TIM_CHANNEL_1);
  HAL_TIM_PWM_Stop(&htim1, TIM_CHANNEL_2);
  HAL_TIM_PWM_Stop(&htim1, TIM_CHANNEL_3);

  /* 停止三相低端互补 PWM 输出 */
  HAL_TIMEx_PWMN_Stop(&htim1, TIM_CHANNEL_1);
  HAL_TIMEx_PWMN_Stop(&htim1, TIM_CHANNEL_2);
  HAL_TIMEx_PWMN_Stop(&htim1, TIM_CHANNEL_3);
}

/**
 * @brief  ADC 注入组转换完成中断回调
 * @param  hadc 触发回调的 ADC 句柄
 * @note
 * 本函数是 FOC 系统的核心实时处理函数，以 10kHz 频率被调用：
 *
 * 工作流程分为两个阶段：
 *
 * 【阶段 1 — Offset 标定阶段】(current_offset_ready == 0)
 *   - 功率 PWM 尚未启动时，累加三相 ADC 原始值
 *   - 累计 N = CURRENT_ADC_SAMPLE_COUNT 次后取平均，得到零电流偏置
 *   - 置 current_offset_ready = 1，通知主循环 offset 已可用
 *
 * 【阶段 2 — FOC 运行阶段】(current_offset_ready == 1)
 *   每次进入执行以下步骤：
 *   a) 用 offset 修正电流 → 得到有符号 ADC count
 *   b) 乘以 CURRENT_ADC_TO_AMP → 转换为安培
 *   c) 计算三相电流和 (i_sum)，用于异常检测
 *   d) 调用 FOC_step() 执行一次 FOC 算法迭代
 *   e) 将 FOC 输出的比较值写入 TIM1 CCR1/2/3
 *   f) 通过 USART3 DMA 发送 VOFA JustFloat 调试帧
 *
 * 为什么只处理 ADC1 的回调？
 *   ADC1 和 ADC2 注入组由同一触发信号同步启动，转换几乎同时完成。
 *   但只有 ADC1 使能了注入中断。在 ADC1 的回调中统一读取两个 ADC
 *   的数据，避免每个 ADC 各进一次回调造成的重复计算和时序问题。
 */
void HAL_ADCEx_InjectedConvCpltCallback(ADC_HandleTypeDef* hadc)
{
  if(hadc->Instance == ADC1){
    /*
     * 读取三相电流 ADC 值：
     * ADC1 injected rank1 → A 相 (ia)
     * ADC1 injected rank2 → C 相 (ic)
     * ADC2 injected rank1 → B 相 (ib)
     *
     * 注意 ib 从 hadc2 读取，因为 B 相电流经过 OPAMP2 → ADC2 通道。
     * 三个通道在硬件上分属两个 ADC 但由同一个触发信号同步采样，
     * 因此读到的值属于同一时刻。
     */
    ia_adc = HAL_ADCEx_InjectedGetValue(&hadc1, ADC_INJECTED_RANK_1);
    ic_adc = HAL_ADCEx_InjectedGetValue(&hadc1, ADC_INJECTED_RANK_2);
    ib_adc = HAL_ADCEx_InjectedGetValue(&hadc2, ADC_INJECTED_RANK_1);

    /* 采样计数自增，调试时在观察窗口中确认该值持续增长 */
    adc_inj_count++;

    if(current_offset_ready == 0U){
      /*
       * ——— Offset 标定阶段 ———
       * 此时 TIM1 CH1/2/3 未启动，电机绕组无电流，
       * ADC 读到的值 = 零电流时的 OPAMP 偏置 + ADC 零点误差。
       * 累加后取平均即为 offset。
       */
      ia_offset_sum += ia_adc;
      ib_offset_sum += ib_adc;
      ic_offset_sum += ic_adc;

      current_offset_count++;

      if(current_offset_count >= CURRENT_ADC_SAMPLE_COUNT){
        /* 达到样本数：取平均得到三相各自的零电流偏置值 */
        ia_offset = (uint16_t)(ia_offset_sum / CURRENT_ADC_SAMPLE_COUNT);
        ib_offset = (uint16_t)(ib_offset_sum / CURRENT_ADC_SAMPLE_COUNT);
        ic_offset = (uint16_t)(ic_offset_sum / CURRENT_ADC_SAMPLE_COUNT);

        current_offset_ready = 1U;  /* 标定完成，主循环可启动功率 PWM */
      }
    }
    else{
      /*
       * ——— FOC 正常运行阶段 ———
       * 用 offset 修正电流原始值：
       * ia_raw = ia_adc - ia_offset，结果可能为负（电流负半周）。
       * 使用 int32_t 中间变量防止 uint16_t 减法溢出。
       */
      ia_raw = (int16_t)((int32_t)ia_adc - (int32_t)ia_offset);
      ib_raw = (int16_t)((int32_t)ib_adc - (int32_t)ib_offset);
      ic_raw = (int16_t)((int32_t)ic_adc - (int32_t)ic_offset);

      /* ADC count → 安培转换，填入 FOC 模型输入 */
      rtU.ia = (float)ia_raw * CURRENT_ADC_TO_AMP;
      rtU.ib = (float)ib_raw * CURRENT_ADC_TO_AMP;
      rtU.ic = (float)ic_raw * CURRENT_ADC_TO_AMP;

      /*
       * 三相电流和：根据基尔霍夫电流定律 (KCL)，
       * 星形连接的三相对称绕组中 ia + ib + ic ≡ 0。
       * 若 i_sum 持续偏离 0，可能存在：
       * - offset 标定不准确
       * - ADC 采样通道相序错误
       * - 运放或分流器硬件故障
       */
      i_sum = rtU.ia + rtU.ib + rtU.ic;

      /* 执行一次 FOC 算法迭代：包含 Clarke/Park 变换、PI 调节、SVPWM 等 */
      FOC_step();

      /*
       * 更新 PWM 比较值：
       * 若电机已启动 (Motor_state == 1)，用 FOC 输出值；
       * 否则保持中点值，确保无功率输出。
       *
       * rtY.Tcmp1/2/3 范围 0..8000，直接写入 TIM1 CCR 寄存器。
       * 这些寄存器有预装载功能 (TIM_CCR 带影子寄存器)，
       * 写入后在下个 PWM 周期开始时生效，避免 PWM 毛刺。
       */
      if (Motor_state == 1U)
      {
        TIM1->CCR1 = (uint32_t)rtY.Tcmp1;
        TIM1->CCR2 = (uint32_t)rtY.Tcmp2;
        TIM1->CCR3 = (uint32_t)rtY.Tcmp3;
      }
      else
      {
        TIM1->CCR1 = PWM_MID_COUNTS;
        TIM1->CCR2 = PWM_MID_COUNTS;
        TIM1->CCR3 = PWM_MID_COUNTS;
      }

      /*
       * VOFA JustFloat 调试数据发送：
       * 仅在 USART3 空闲时发送，若上一帧 DMA 未完成则跳过本帧。
       * 这是一种"尽力发送"策略：DMA 来不及发就丢弃当前帧，
       * 保证不阻塞 ADC 中断服务例程。
       *
       * JustFloat 帧格式 (72 字节):
       *   [0..67]: 17 个 float (小端序)
       *   [68..71]: 帧尾 0x00 0x00 0x80 0x7F
       * VOFA+ 上位机通过帧尾定位每帧边界。
       */
      if (huart3.gState == HAL_UART_STATE_READY)
      {
        load_data[0] = rtU.ia;
        load_data[1] = rtU.ib;
        load_data[2] = rtU.ic;
        load_data[3] = FluxTheta;   /* FOC 模型输出的磁链角度 (rad) */
        load_data[4] = FluxWm;      /* FOC 模型输出的机械速度 (rpm) */
        load_data[5] = rtU.SpeedRefToFOC;/* 目标转速 (RPM) */
        load_data[6] = rtU.v_bus;   /* 母线电压 (V) */
        load_data[7] = FocDiagId;
        load_data[8] = FocDiagIq;
        load_data[9] = FocDiagIdRef;
        load_data[10] = FocDiagIqRef;
        load_data[11] = FocDiagUd;
        load_data[12] = FocDiagUq;
        load_data[13] = FocDiagTcmp1;
        load_data[14] = FocDiagTcmp2;
        load_data[15] = FocDiagTcmp3;
        load_data[16] = FocDiagState;

        memcpy(tempData, (uint8_t *)load_data, sizeof(load_data));
        tempData[68] = 0x00;
        tempData[69] = 0x00;
        tempData[70] = 0x80;
        tempData[71] = 0x7F;
        HAL_UART_Transmit_DMA(&huart3, (uint8_t *)tempData, sizeof(tempData));
      }
    }
  }

}

/**
 * @brief  UART 接收完成中断回调
 * @param  huart 触发回调的 UART 句柄
 * @note
 * 当前命令接收使用 USART3 RX DMA 环形缓冲，并由主循环轮询解析。
 * 这里保留空回调，避免未来误启用 HAL 接收完成中断时重新进入旧路径。
 */
void HAL_UART_RxCpltCallback(UART_HandleTypeDef *huart)
{
  (void)huart;
}

/**
 * @brief  UART 错误回调
 * @param  huart 触发错误的 UART 句柄
 * @note
 * UART 通信中可能发生帧错误、噪声错误、溢出错误等。
 * 错误发生后 HAL 可能停止当前接收，本回调重新启动 RX DMA 环形接收，
 * 确保通信链路在短暂干扰后能自动恢复。
 *
 * 对于这种简单的 ASCII 命令协议，出错时丢弃当前字节/命令即可，
 * 上位机可重发命令（人工操作场景，容忍偶尔丢包）。
 */
void HAL_UART_ErrorCallback(UART_HandleTypeDef *huart)
{
  if (huart->Instance == USART3)
  {
    /* 错误后重新启动 DMA 接收，丢弃可能损坏的半行命令 */
    HostCommand_RestartDmaRx();
  }
}
/* USER CODE END 4 */

/**
  * @brief  系统错误处理函数
  * @note
  * 当 HAL 库检测到无法恢复的错误时（时钟配置失败、外设初始化失败等）
  * 会调用此函数。当前实现：
  *   1. 关闭全局中断，阻止任何中断服务例程继续执行
  *   2. 进入无限循环，等待看门狗复位或用户手动复位
  *
  * 实际调试时可在 while(1) 中加入 LED 闪烁或错误代码输出，
  * 帮助定位故障原因。工程化产品中建议记录错误状态后再死循环。
  * @retval None（永不返回）
  */
void Error_Handler(void)
{
  /* USER CODE BEGIN Error_Handler_Debug */
  /*
   * 关全局中断：确保外设中断不会在异常状态下继续触发，
   * 避免错误的 DMA/中断访问已损坏的数据结构。
   */
  __disable_irq();
  while (1)
  {
    /*
     * 死循环等待复位。
     * 实际产品可在此处：
     * - 翻转 LED 指示错误状态
     * - 将错误信息写入备份寄存器供下次启动读取
     * - 触发软件复位 (NVIC_SystemReset)
     */
  }
  /* USER CODE END Error_Handler_Debug */
}
